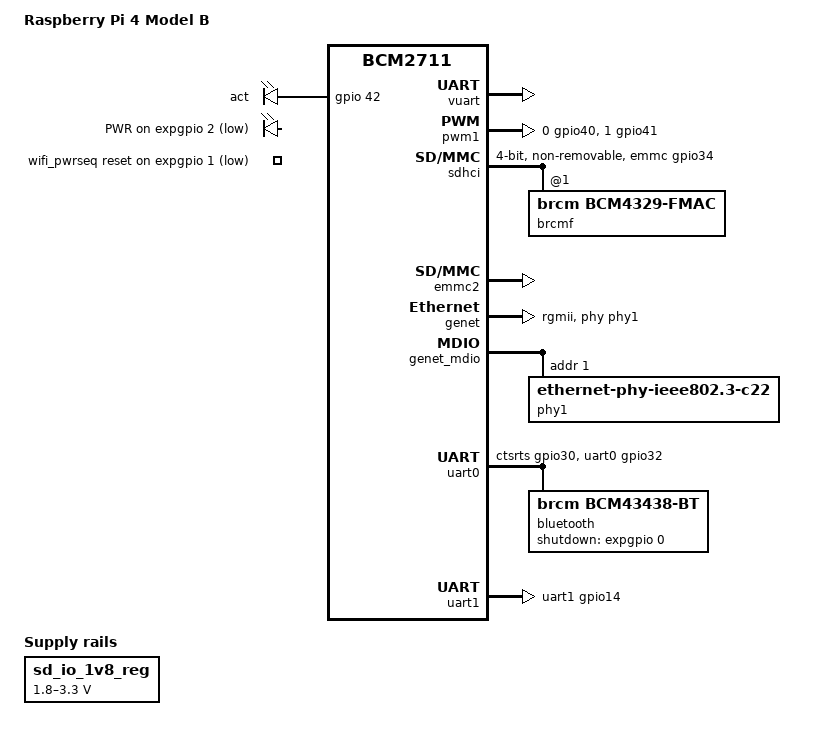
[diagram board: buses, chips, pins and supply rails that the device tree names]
// SPDX-License-Identifier: GPL-2.0
/dts-v1/;
#include "bcm2711.dtsi"
#include "bcm2835-rpi.dtsi"
#include "bcm283x-rpi-usb-peripheral.dtsi"

/ {
	compatible = "raspberrypi,4-model-b", "brcm,bcm2711";
	model = "Raspberry Pi 4 Model B";

	chosen {
	 	/* bootargs = "console=ttyAMA0,115200n8 root=/dev/ram rw slub_debug=PUZ"; */
 	   /*  bootargs = "coherent_pool=1M 8250.nr_uarts=1 cma=64M cma=256M  smsc95xx.macaddr=DC:A6:32:18:DD:95 vc_mem.mem_base=0x3ec00000 vc_mem.mem_size=0x40000000  console=serial0,115200 console=tty1 root=/dev/ram elevator=deadline fsck.repair=yes rootwait"; */
	bootargs = "coherent_pool=1M 8250.nr_uarts=1 cma=64M cma=256M  smsc95xx.macaddr=DC:A6:32:18:DD:95 vc_mem.mem_base=0x3ec00000 vc_mem.mem_size=0x40000000  console=ttyS0,115200 root=/dev/ram elevator=deadline fsck.repair=yes rootwait";

#if 0 /* SOO.tech */ 
		/* 8250 auxiliary UART instead of pl011 */
		stdout-path = "serial1:115200n8";
#endif
	   };
	   
#if 0 /* SOO.tech */
	/* Will be filled by the bootloader */
	memory@0 {
		device_type = "memory";
		reg = <0 0 0>;
	};
#endif /* 0 */

	aliases {
		ethernet0 = &genet;
	};

	leds {
		act {
			gpios = <&gpio 42 GPIO_ACTIVE_HIGH>;
		};

		pwr {
			label = "PWR";
			gpios = <&expgpio 2 GPIO_ACTIVE_LOW>;
		};
	};

	wifi_pwrseq: wifi-pwrseq {
		compatible = "mmc-pwrseq-simple";
		reset-gpios = <&expgpio 1 GPIO_ACTIVE_LOW>;
	};

	sd_io_1v8_reg: sd_io_1v8_reg {
		compatible = "regulator-gpio";
		regulator-name = "vdd-sd-io";
		regulator-min-microvolt = <1800000>;
		regulator-max-microvolt = <3300000>;
		regulator-boot-on;
		regulator-always-on;
		regulator-settling-time-us = <5000>;
		gpios = <&expgpio 4 GPIO_ACTIVE_HIGH>;
		states = <1800000 0x1
			  3300000 0x0>;
		status = "okay";
	};

	agency {
		domain-size = <0x20000000>; /* 512 MB */
	
	
		/* Backends */
		backends {
			compatible = "arm,soo";

			vdummy {
				compatible = "soo,vdummy";
				status = "ok";
			};
	
			vuart {
				compatible = "soo,vuart";
				status = "ok";
			};
		
			vuihandler {
				compatible = "soo,vuihandler";
				status = "ok";
			};
		
		};
	};

};

&firmware {
	expgpio: gpio {
		compatible = "raspberrypi,firmware-gpio";
		gpio-controller;
		#gpio-cells = <2>;
		gpio-line-names = "BT_ON",
				  "WL_ON",
				  "PWR_LED_OFF",
				  "GLOBAL_RESET",
				  "VDD_SD_IO_SEL",
				  "CAM_GPIO",
				  "",
				  "";
		status = "okay";
	};
};

&pwm1 {
	pinctrl-names = "default";
	pinctrl-0 = <&pwm1_0_gpio40 &pwm1_1_gpio41>;
	status = "okay";
};

/* SDHCI is used to control the SDIO for wireless */
&sdhci {
	#address-cells = <1>;
	#size-cells = <0>;
	pinctrl-names = "default";
	pinctrl-0 = <&emmc_gpio34>;
	bus-width = <4>;
	non-removable;
	mmc-pwrseq = <&wifi_pwrseq>;
	status = "okay";

	brcmf: wifi@1 {
		reg = <1>;
		compatible = "brcm,bcm4329-fmac";
	};
};

/* EMMC2 is used to drive the SD card */
&emmc2 {
	vqmmc-supply = <&sd_io_1v8_reg>;
	broken-cd;
	status = "okay";
};

/* SOO.tech */
/* Aligned (but not exactly the same) with 4.19-rpi4 */
&genet {
	phy-handle = <&phy1>;
	phy-mode = "rgmii";
	status = "okay";
};

&genet_mdio {
	phy1: ethernet-phy@1 {
		compatible = "ethernet-phy-ieee802.3-c22";
		/* No PHY interrupt */
		max-speed = <1000>;
		reg = <0x1>;
	};
};

/* uart0 communicates with the BT module */
&uart0 {
	pinctrl-names = "default";
	pinctrl-0 = <&uart0_ctsrts_gpio30 &uart0_gpio32>;
	uart-has-rtscts;
	status = "okay";

	bluetooth {
		compatible = "brcm,bcm43438-bt";
		max-speed = <2000000>;
		shutdown-gpios = <&expgpio 0 GPIO_ACTIVE_HIGH>;
	};
};

/* uart1 is mapped to the pin header */
&uart1 {
	pinctrl-names = "default";
	pinctrl-0 = <&uart1_gpio14>;
	status = "okay";
};

&vchiq {
	interrupts = <GIC_SPI 34 IRQ_TYPE_LEVEL_HIGH>;
};
